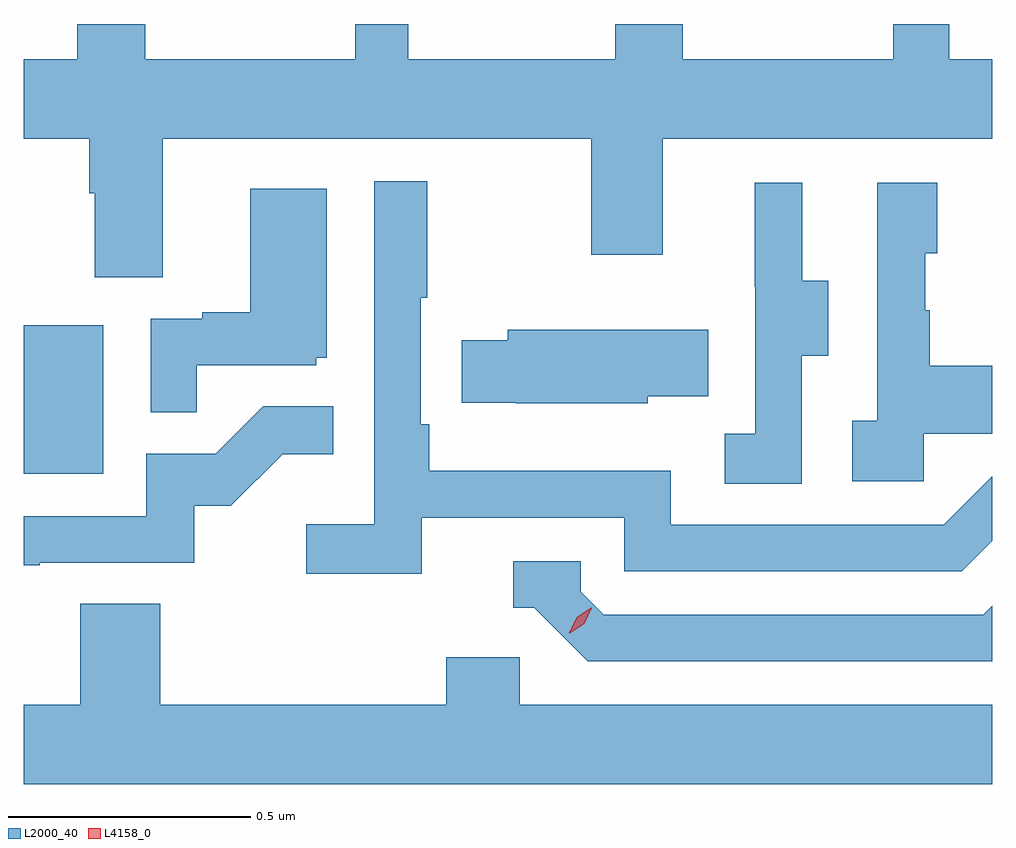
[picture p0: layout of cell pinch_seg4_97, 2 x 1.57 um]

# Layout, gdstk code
import gdstk
lib = gdstk.Library(unit=1e-6, precision=1e-09)
def R(c, l, rs):  # rectangles x0, y0, x1, y1
    for r in rs: c.add(gdstk.rectangle(r[:2], r[2:], *l))
def P(c, l, *ps):  # polygons
    for p in ps: c.add(gdstk.Polygon(p, *l))
L2000_40 = (2000, 40)
L4158_0 = (4158, 0)

pinch_seg4_97 = lib.new_cell('pinch_seg4_97')
R(pinch_seg4_97, L2000_40, [(1019.798,810.78,1019.962,811.087)])
P(pinch_seg4_97, L2000_40, [(1019.909,811.636),(1019.798,811.636),(1019.798,811.472),(1019.933,811.472),(1019.933,811.36),(1019.945,811.36),(1019.945,811.186),(1020.085,811.186),(1020.085,811.472),(1020.97,811.472),(1020.97,811.233),(1021.117,811.233),(1021.117,811.472),(1021.798,811.472),(1021.798,811.636),(1021.709,811.636),(1021.709,811.709),(1021.593,811.709),(1021.593,811.636),(1021.159,811.636),(1021.159,811.709),(1021.019,811.709),(1021.019,811.636),(1020.592,811.636),(1020.592,811.709),(1020.483,811.709),(1020.483,811.636),(1020.049,811.636),(1020.049,811.709),(1019.909,811.709)],
  [(1020.62,810.69),(1021.038,810.69),(1021.038,810.579),(1021.735,810.579),(1021.798,810.642),(1021.798,810.774),(1021.797,810.774),(1021.698,810.675),(1021.134,810.675),(1021.134,810.787),(1020.635,810.787),(1020.635,810.883),(1020.618,810.883),(1020.618,811.144),(1020.631,811.144),(1020.631,811.384),(1020.522,811.384),(1020.522,810.676),(1020.381,810.676),(1020.381,810.574),(1020.62,810.574)],
  [(1021.656,810.863),(1021.798,810.863),(1021.798,811.003),(1021.669,811.003),(1021.669,811.118),(1021.659,811.118),(1021.659,811.236),(1021.684,811.236),(1021.684,811.381),(1021.56,811.381),(1021.56,810.89),(1021.509,810.89),(1021.509,810.765),(1021.656,810.765)],
  [(1021.404,811.024),(1021.459,811.024),(1021.459,811.179),(1021.405,811.179),(1021.405,811.381),(1021.307,811.381),(1021.307,811.167),(1021.308,811.167),(1021.308,810.863),(1021.245,810.863),(1021.245,810.76),(1021.404,810.76)],
  [(1020.155,811.005),(1020.402,811.005),(1020.402,811.02),(1020.424,811.02),(1020.424,811.369),(1020.266,811.369),(1020.266,811.114),(1020.167,811.114),(1020.167,811.101),(1020.06,811.101),(1020.06,810.907),(1020.155,810.907)],
  [(1021.086,810.941),(1021.211,810.941),(1021.211,811.078),(1020.797,811.078),(1020.797,811.056),(1020.703,811.056),(1020.703,810.927),(1020.814,810.927),(1020.814,810.926),(1021.086,810.926)],
  [(1019.831,810.597),(1020.15,810.597),(1020.15,810.714),(1020.226,810.714),(1020.333,810.821),(1020.437,810.821),(1020.437,810.92),(1020.293,810.92),(1020.195,810.822),(1020.051,810.822),(1020.051,810.693),(1019.798,810.693),(1019.798,810.592),(1019.831,810.592)],
  [(1021.798,810.508),(1021.779,810.489),(1020.996,810.489),(1020.948,810.537),(1020.948,810.6),(1020.809,810.6),(1020.809,810.504),(1020.852,810.504),(1020.963,810.393),(1021.798,810.393)],
  [(1021.798,810.304),(1020.822,810.304),(1020.822,810.402),(1020.671,810.402),(1020.671,810.304),(1020.08,810.304),(1020.08,810.512),(1019.915,810.512),(1019.915,810.304),(1019.798,810.304),(1019.798,810.14),(1021.798,810.14)])
P(pinch_seg4_97, L4158_0, [(1020.924,810.451),(1020.924,810.452),(1020.94,810.484),(1020.97,810.504),(1020.971,810.504),(1020.971,810.504),(1020.955,810.471),(1020.925,810.451)])

lib.write_gds('pinch_seg4_97.gds')
